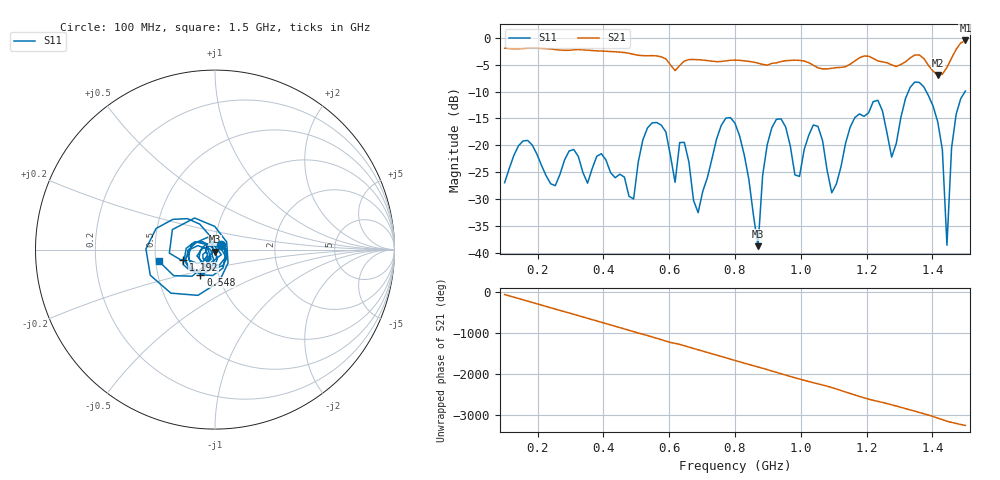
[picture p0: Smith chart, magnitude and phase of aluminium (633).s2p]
! NanoVNA-App
! Date: 2025-09-25 15:00:12
! Start: 100MHz Stop: 1,5GHz Points: 101
! S-Parameter data: F S11 S21 S12 S22
# Hz S RI R 50
!  Frequency  S11_Real  S11_Imag  S21_Real  S21_Imag  S12_Real  S12_Imag  S22_Real  S22_Imag
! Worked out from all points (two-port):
!   101 points, 100 MHz to 1.5 GHz, reference 50 ohm
!   highest |S21| = -0.49 dB at 1.5 GHz (marker M1); lowest = -6.9 dB at 1.416 GHz (marker M2)
!   |S21| within 3 dB of the highest: start of sweep to 572.3 MHz; 1.46 GHz to end of sweep (the widest 2 of 4)
!   lowest |S11| = -38.8 dB at 870 MHz (marker M3), VSWR 1.02, Z = 50.1 - j1.15 ohm
!   |S11| at or under -10 dB: start of sweep to 1.327 GHz; 1.381 GHz to 1.499 GHz (117.7 MHz wide, 8.17 % of centre)
!   S12 and S22 are empty: the file has one direction only
!   S11 on the Smith chart (normalised r, x): 100 MHz: 1.07, +0.06; 548 MHz: 0.82, -0.24; 1.192 GHz: 0.69, -0.08; 1.5 GHz: 0.52, -0.07
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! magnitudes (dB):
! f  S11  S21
! 100 MHz  -27.0  -1.9
! 156 MHz  -19.2  -2.0
! 338 MHz  -25.1  -2.2
! 492 MHz  -30.0  -3.1
! 548 MHz  -15.8  -3.3
! 576 MHz  -16.2  -3.5
! 618 MHz  -26.9  -6.1
! 646 MHz  -19.5  -4.3
! 688 MHz  -32.5  -4.1
! 800 MHz  -15.9  -4.1
! 870 MHz  -38.8  -4.7
! 912 MHz  -16.7  -4.7
! 996 MHz  -25.8  -4.2
! 1.038 GHz  -16.2  -5.1
! 1.094 GHz  -28.8  -5.7
! 1.192 GHz  -14.6  -3.4
! 1.276 GHz  -22.2  -5.0
! 1.346 GHz  -8.2  -3.2
! 1.416 GHz  -15.6  -6.9
! 1.444 GHz  -38.6  -5.5
! 1.458 GHz  -20.5  -3.8
! 1.5 GHz  -9.9  -0.5
